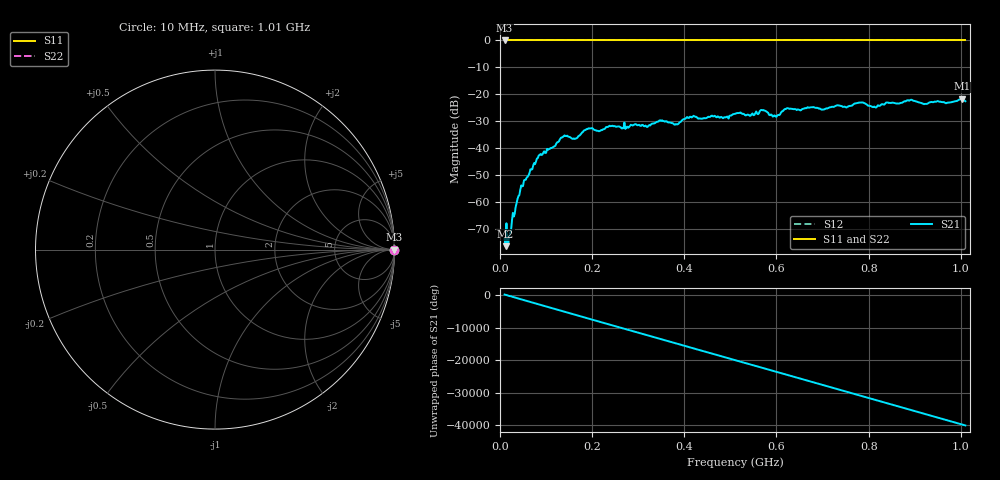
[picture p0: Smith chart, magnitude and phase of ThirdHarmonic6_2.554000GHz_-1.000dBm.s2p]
! 8/17/2025 5:14:33 AM
! C:\ANRITSUVNA\TEMP\TEMP.S2P
! CHANNEL.1
! TR.MEASUREMENT
! RAW.DATA
! RF.CORRECTION.OFF
! AVERAGING.OFF
! IF.BANDWIDTH: 5KHZ
! SWEEPTYPE:  FREQ.SWEEP(Linear)
! Reference Plane Port Info
! PORT:  PORT1  PORT2
! DISTANCE:  0  m  0  m
! TIME:  0  s  0  s
! PHASE.OFFSET:  0  deg.  0  deg.
! LOSS:  0  dB  0  dB
! REF.LOSS:  0  dB  0  dB
! REF.FREQ:  0  Hz  0  Hz
! Power Info
! POWER:  -20  dBm  -20  dBm
! EFF.POWER:  -20  dBm  -20  dBm
! SOURCE.ATTEN:  0  dB  0  dB
! TEST.ATTEN:  0  dB  0  dB
# GHZ S RI R 50.0
! FREQ.GHZ  S11RE  S11IM  S21RE  S21IM  S12RE  S12IM  S22RE  S22IM
!; PortSelection: Port_12
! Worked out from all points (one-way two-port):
!   501 points, 10 MHz to 1.01 GHz, reference 50 ohm
!   highest |S21| = -21.65 dB at 1.002 GHz (marker M1); lowest = -76.3 dB at 12 MHz (marker M2)
!   lowest |S11| = 0.0 dB at 10 MHz (marker M3)
!   |S11| at or under -10 dB: nowhere
!   |S22| runs from 0.0 to 0.0 dB; largest |S21 - S12| = 1.1
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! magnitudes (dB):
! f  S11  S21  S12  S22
! 10 MHz  0.0  -73.6  0.0  0.0
! 12 MHz  0.0  -76.3  0.0  0.0
! 20 MHz  0.0  -73.0  0.0  0.0
! 30 MHz  0.0  -65.3  0.0  0.0
! 48 MHz  0.0  -54.1  0.0  0.0
! 84 MHz  0.0  -42.7  0.0  0.0
! 136 MHz  0.0  -35.9  0.0  0.0
! 162 MHz  0.0  -36.5  0.0  0.0
! 178 MHz  0.0  -34.2  0.0  0.0
! 344 MHz  0.0  -30.1  0.0  0.0
! 382 MHz  0.0  -31.0  0.0  0.0
! 416 MHz  0.0  -28.5  0.0  0.0
! 510 MHz  0.0  -27.2  0.0  0.0
! 570 MHz  0.0  -25.9  0.0  0.0
! 596 MHz  0.0  -27.8  0.0  0.0
! 622 MHz  0.0  -25.2  0.0  0.0
! 678 MHz  0.0  -24.8  0.0  0.0
! 784 MHz  0.0  -23.1  0.0  0.0
! 814 MHz  0.0  -24.7  0.0  0.0
! 844 MHz  0.0  -23.2  0.0  0.0
! 1.002 GHz  0.0  -21.6  0.0  0.0
! 1.01 GHz  0.0  -22.5  0.0  0.0
